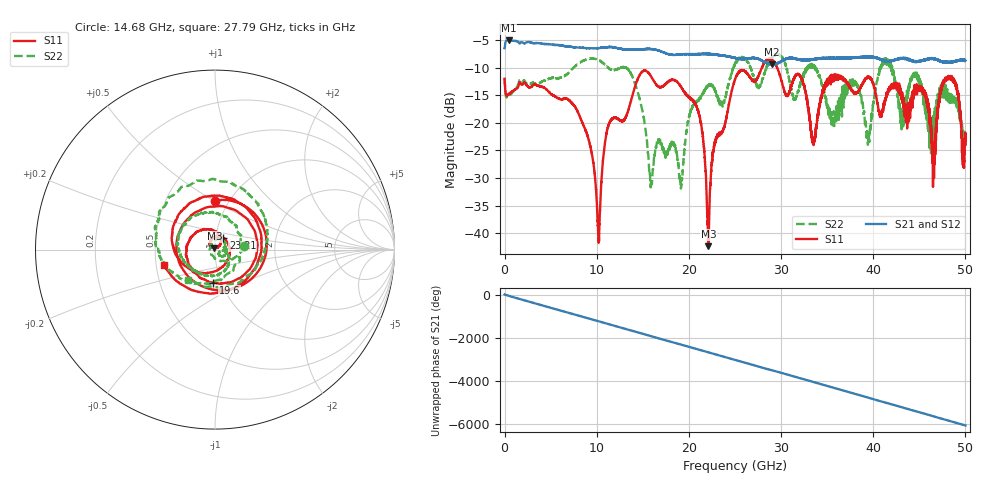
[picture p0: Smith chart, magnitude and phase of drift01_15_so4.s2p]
!Created with skrf (http://scikit-rf.org).
# Hz S RI R 50.0
!freq ReS11 ImS11 ReS21 ImS21 ReS12 ImS12 ReS22 ImS22
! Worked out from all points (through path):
!   10001 points, 300 kHz to 50 GHz, reference 50 ohm
!   highest |S21| = -5.05 dB at 425.3 MHz (marker M1); lowest = -9.4 dB at 29.03 GHz (marker M2)
!   group delay of S21, straight-line fit = 336 ps
!   lowest |S11| = -42.3 dB at 22.11 GHz (marker M3), VSWR 1.02, Z = 49.7 + j0.699 ohm
!   |S11| at or under -10 dB: start of sweep to 27.92 GHz; 29.58 GHz to end of sweep
!   |S22| runs from -31.9 to -7.5 dB; largest |S21 - S12| = 0.011
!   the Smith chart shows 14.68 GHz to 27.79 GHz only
!   S11 on the Smith chart (normalised r, x): 14.68 GHz: 0.86, +0.51; 19.6 GHz: 0.92, -0.35; 23.21 GHz: 1.09, +0.14; 27.79 GHz: 0.55, -0.11
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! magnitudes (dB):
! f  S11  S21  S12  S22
! 300 kHz  -12.1  -6.5  -6.6  -11.8
! 425.3 MHz  -14.8  -5.1  -5.1  -15.1
! 8.335 GHz  -19.6  -6.4  -6.4  -8.9
! 10.2 GHz  -41.3  -6.4  -6.4  -8.6
! 11.24 GHz  -20.7  -6.3  -6.2  -10.0
! 14.68 GHz  -11.3  -6.7  -6.7  -15.8
! 15.87 GHz  -11.5  -6.6  -6.6  -31.5
! 16.67 GHz  -13.4  -6.9  -6.9  -23.2
! 19.6 GHz  -14.7  -7.5  -7.5  -23.5
! 21.23 GHz  -19.5  -7.5  -7.5  -15.6
! 22.11 GHz  -42.3  -7.5  -7.5  -13.2
! 23.21 GHz  -22.2  -7.7  -7.7  -15.8
! 25 GHz  -12.1  -8.2  -8.3  -9.4
! 27.79 GHz  -10.5  -8.6  -8.6  -12.8
! 29.03 GHz  -8.6  -9.4  -9.4  -8.2
! 33.34 GHz  -22.6  -8.5  -8.5  -9.6
! 39.47 GHz  -11.7  -8.1  -8.1  -22.8
! 41.67 GHz  -13.9  -8.8  -8.8  -9.0
! 45.47 GHz  -14.4  -8.6  -8.6  -16.0
! 46.56 GHz  -27.1  -8.4  -8.4  -20.5
! 48.53 GHz  -12.0  -9.0  -9.0  -15.3
! 50 GHz  -23.2  -8.7  -8.7  -23.1
